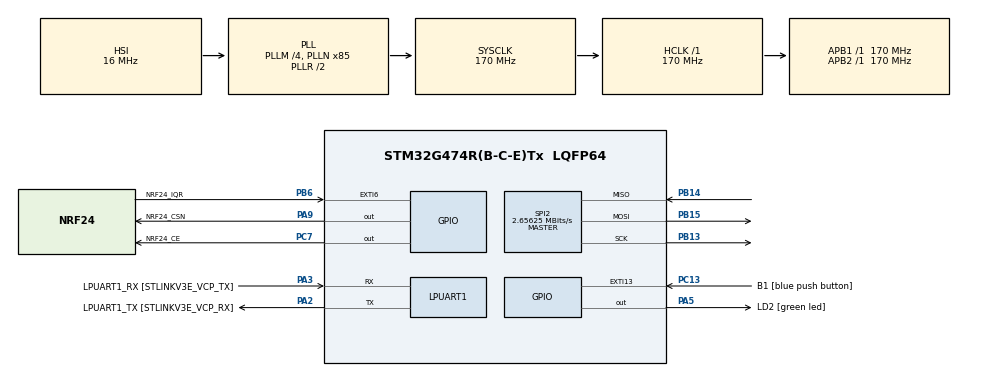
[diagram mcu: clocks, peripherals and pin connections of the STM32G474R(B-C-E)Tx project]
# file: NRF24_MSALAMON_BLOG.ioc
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Mcu.Family=STM32G4
Mcu.Name=STM32G474R(B-C-E)Tx
Mcu.Package=LQFP64
NVIC.EXTI15_10_IRQn=true\:0\:0\:false\:false\:true\:true\:true\:true
NVIC.PriorityGroup=NVIC_PRIORITYGROUP_4
PA13.GPIO_Label=T_SWDIO
PA13.Mode=Serial_Wire
PA13.Signal=SYS_JTMS-SWDIO
PA14.GPIO_Label=T_SWCLK
PA14.Mode=Serial_Wire
PA14.Signal=SYS_JTCK-SWCLK
PA2.GPIO_Label=LPUART1_TX [STLINKV3E_VCP_RX]
PA2.Mode=Asynchronous
PA2.Signal=LPUART1_TX
PA3.GPIO_Label=LPUART1_RX [STLINKV3E_VCP_TX]
PA3.Mode=Asynchronous
PA3.Signal=LPUART1_RX
PA5.GPIO_Label=LD2 [green led]
PA5.Signal=GPIO_Output
PA9.GPIO_Label=NRF24_CSN
PA9.Signal=GPIO_Output
PB13.Mode=Full_Duplex_Master
PB13.Signal=SPI2_SCK
PB14.Mode=Full_Duplex_Master
PB14.Signal=SPI2_MISO
PB15.Mode=Full_Duplex_Master
PB15.Signal=SPI2_MOSI
PB3.GPIO_Label=T_SWO
PB3.Signal=SYS_JTDO-SWO
PB6.GPIO_Label=NRF24_IQR
PB6.Signal=GPXTI6
PC13.GPIO_Label=B1 [blue push button]
PC13.Signal=GPXTI13
PC14-OSC32_IN.GPIO_Label=RCC_OSC32_IN
PC14-OSC32_IN.Mode=LSE-External-Oscillator
PC14-OSC32_IN.Signal=RCC_OSC32_IN
PC15-OSC32_OUT.GPIO_Label=RCC_OSC32_OUT
PC15-OSC32_OUT.Mode=LSE-External-Oscillator
PC15-OSC32_OUT.Signal=RCC_OSC32_OUT
PC7.GPIO_Label=NRF24_CE
PC7.Signal=GPIO_Output
PF0-OSC_IN.GPIO_Label=RCC_OSC_IN
PF0-OSC_IN.Mode=HSE-External-Oscillator
PF0-OSC_IN.Signal=RCC_OSC_IN
PF1-OSC_OUT.GPIO_Label=RCC_OSC_OUT
PF1-OSC_OUT.Mode=HSE-External-Oscillator
PF1-OSC_OUT.Signal=RCC_OSC_OUT
ProjectManager.HeapSize=0x200
ProjectManager.StackSize=0x400
ProjectManager.TargetToolchain=STM32CubeIDE
RCC.ADC12Freq_Value=170000000
RCC.ADC345Freq_Value=170000000
RCC.AHBFreq_Value=170000000
RCC.APB1Freq_Value=170000000
RCC.APB1TimFreq_Value=170000000
RCC.APB2Freq_Value=170000000
RCC.APB2TimFreq_Value=170000000
RCC.CortexFreq_Value=170000000
RCC.EXTERNAL_CLOCK_VALUE=12288000
RCC.HCLKFreq_Value=170000000
RCC.HSE_VALUE=24000000
RCC.HSI48_VALUE=48000000
RCC.HSI_VALUE=16000000
RCC.PLLM=RCC_PLLM_DIV4
RCC.PLLN=85
RCC.RTCClockSelection=RCC_RTCCLKSOURCE_LSE
RCC.SYSCLKFreq_VALUE=170000000
RCC.SYSCLKSource=RCC_SYSCLKSOURCE_PLLCLK
RCC.USBFreq_Value=170000000
RCC.VCOOutputFreq_Value=340000000
SPI2.BaudRatePrescaler=SPI_BAUDRATEPRESCALER_64
SPI2.CalculateBaudRate=2.65625 MBits/s
SPI2.Direction=SPI_DIRECTION_2LINES
SPI2.Mode=SPI_MODE_MASTER
SPI2.VirtualType=VM_MASTER
VP_SYS_VS_DBSignals.Mode=DisableDeadBatterySignals
board=NUCLEO-G474RE

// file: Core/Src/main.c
/* USER CODE BEGIN Header */
/**
  ******************************************************************************
  * @file           : main.c
  * @brief          : Main program body
  ******************************************************************************
  * @attention
  *
  * Copyright (c) 2025 STMicroelectronics.
  * All rights reserved.
  *
  * This software is licensed under terms that can be found in the LICENSE file
  * in the root directory of this software component.
  * If no LICENSE file comes with this software, it is provided AS-IS.
  *
  ******************************************************************************
  */
/* USER CODE END Header */
#include "main.h"
#include "usart.h"
#include "spi.h"
#include "gpio.h"

/* USER CODE BEGIN Includes */
#include "stdio.h"
#include "nRF24/nRF24_Defs.h"
#include "nRF24/nRF24.h"
/* USER CODE END Includes */

/* USER CODE BEGIN PV */
volatile uint8_t nrf24_rx_flag, nrf24_tx_flag, nrf24_mr_flag;
uint8_t Nrf24_Message[NRF24_PAYLOAD_SIZE];
uint8_t Message[32];
uint8_t MessageLength;

uint8_t Nad[] = "Nad";
uint8_t Odb[] = "Odb";
/* USER CODE END PV */

void SystemClock_Config(void);

int main(void)
{

  /* MCU Configuration--------------------------------------------------------*/

  /* Reset of all peripherals, Initializes the Flash interface and the Systick. */
  HAL_Init();

  /* Configure the system clock */
  SystemClock_Config();

  /* Initialize all configured peripherals */
  MX_GPIO_Init();
  MX_LPUART1_UART_Init();
  MX_SPI2_Init();
  /* USER CODE BEGIN 2 */
  nRF24_Init(&hspi2);
  nRF24_SetRXAddress(0, Nad);
  nRF24_SetTXAddress(Odb);
  nRF24_TX_Mode();
  uint8_t i;
  /* USER CODE END 2 */

  /* Infinite loop */
  /* USER CODE BEGIN WHILE */
  while (1)
  {
	  for(i=0; i<10; i++)
	  {
		  MessageLength = sprintf((char *) Message, "%d", i );
		  nRF24_WriteTXPayload(Message);
		  HAL_Delay(1);
		  nRF24_WaitTX();
		  HAL_Delay(1000);
	  }

    /* USER CODE END WHILE */

  }
}

void SystemClock_Config(void)
{
  RCC_OscInitTypeDef RCC_OscInitStruct = {0};
  RCC_ClkInitTypeDef RCC_ClkInitStruct = {0};

  /** Configure the main internal regulator output voltage
  */
  HAL_PWREx_ControlVoltageScaling(PWR_REGULATOR_VOLTAGE_SCALE1_BOOST);

  /** Initializes the RCC Oscillators according to the specified parameters
  * in the RCC_OscInitTypeDef structure.
  */
  RCC_OscInitStruct.OscillatorType = RCC_OSCILLATORTYPE_HSI;
  RCC_OscInitStruct.HSIState = RCC_HSI_ON;
  RCC_OscInitStruct.HSICalibrationValue = RCC_HSICALIBRATION_DEFAULT;
  RCC_OscInitStruct.PLL.PLLState = RCC_PLL_ON;
  RCC_OscInitStruct.PLL.PLLSource = RCC_PLLSOURCE_HSI;
  RCC_OscInitStruct.PLL.PLLM = RCC_PLLM_DIV4;
  RCC_OscInitStruct.PLL.PLLN = 85;
  RCC_OscInitStruct.PLL.PLLP = RCC_PLLP_DIV2;
  RCC_OscInitStruct.PLL.PLLQ = RCC_PLLQ_DIV2;
  RCC_OscInitStruct.PLL.PLLR = RCC_PLLR_DIV2;
  if (HAL_RCC_OscConfig(&RCC_OscInitStruct) != HAL_OK)
  {
    Error_Handler();
  }

  /** Initializes the CPU, AHB and APB buses clocks
  */
  RCC_ClkInitStruct.ClockType = RCC_CLOCKTYPE_HCLK|RCC_CLOCKTYPE_SYSCLK
                              |RCC_CLOCKTYPE_PCLK1|RCC_CLOCKTYPE_PCLK2;
  RCC_ClkInitStruct.SYSCLKSource = RCC_SYSCLKSOURCE_PLLCLK;
  RCC_ClkInitStruct.AHBCLKDivider = RCC_SYSCLK_DIV1;
  RCC_ClkInitStruct.APB1CLKDivider = RCC_HCLK_DIV1;
  RCC_ClkInitStruct.APB2CLKDivider = RCC_HCLK_DIV1;

  if (HAL_RCC_ClockConfig(&RCC_ClkInitStruct, FLASH_LATENCY_4) != HAL_OK)
  {
    Error_Handler();
  }
}

void Error_Handler(void)
{
  __disable_irq();
  while (1)
  {
  }
}
